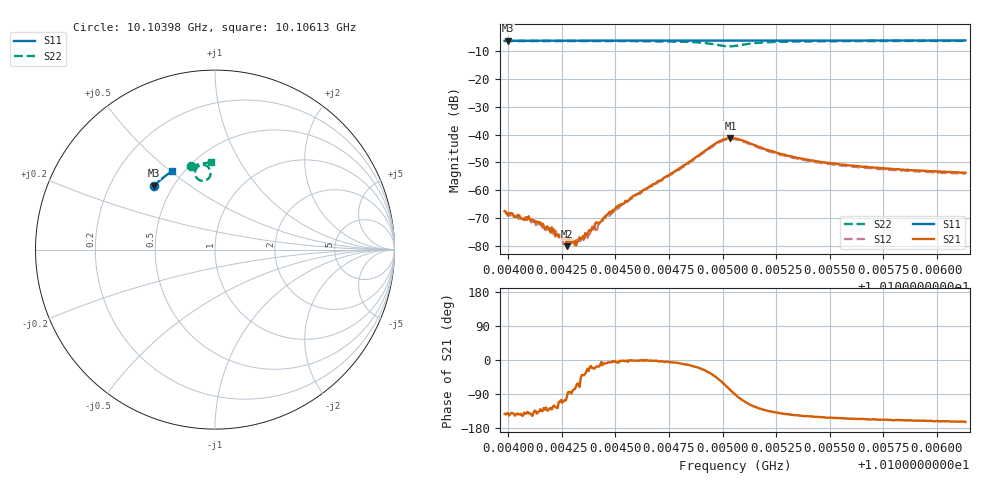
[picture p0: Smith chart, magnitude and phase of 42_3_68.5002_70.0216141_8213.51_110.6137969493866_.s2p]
#  HZ  S  RI  R  50.00
! Rohde & Schwarz Vector Network Analyzer
! Rohde-Schwarz,ZNB20-2Port,1311601062101988,3.16
! Created: UTC 3/20/2024, 4:50:23 PM
! freq[Hz]  re:S11  im:S11  re:S21  im:S21  re:S12  im:S12  re:S22  im:S22
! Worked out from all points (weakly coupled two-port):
!   401 points, 10.10398 GHz to 10.10613 GHz, reference 50 ohm
!   highest |S21| = -41.25 dB at 10.10504 GHz (marker M1); lowest = -80.2 dB at 10.10427 GHz (marker M2)
!   lowest |S11| = -6.2 dB at 10.104 GHz (marker M3), VSWR 2.93, Z = 19.8 + j18.6 ohm
!   |S11| at or under -10 dB: nowhere
!   |S22| runs from -8.2 to -6.2 dB; largest |S21 - S12| = 0.00087
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1.0103982e10  -0.3392 0.3555  -0.000328 -0.000256  -0.000288 -0.000256  -0.1359 0.4642
1.0103999e10  -0.3385 0.3561  -0.000262 -0.000221  -0.00027 -0.000257  -0.1348 0.4646
1.0104068e10  -0.3355 0.3592  -0.000254 -0.000166  -0.000235 -0.000177  -0.1299 0.4661
1.010409e10  -0.3347 0.3601  -0.000217 -0.000205  -0.000223 -0.000213  -0.1283 0.4665
1.0104149e10  -0.332 0.3628  -0.000166 -0.000198  -0.000137 -0.000188  -0.124 0.4677
1.0104219e10  -0.329 0.3657  -8.15e-05 -0.000122  -5.51e-05 -0.000155  -0.1188 0.4692
1.0104267e10  -0.3269 0.3679  -4.07e-05 -0.000135  -8.49e-06 -0.000136  -0.1151 0.4701
1.0104273e10  -0.3267 0.3681  -1.41e-05 -9.63e-05  9.3e-06 -0.000118  -0.1147 0.4703
1.0104316e10  -0.3247 0.3698  3.37e-05 -9.35e-05  5.72e-05 -0.000106  -0.1113 0.471
1.0104343e10  -0.3235 0.371  0.000101 -8.33e-05  0.000101 -6.85e-05  -0.1089 0.4714
1.0104391e10  -0.3214 0.373  0.000197 -7.61e-05  0.000212 -5.51e-05  -0.1049 0.4723
1.0104418e10  -0.3201 0.3742  0.000244 -7.66e-05  0.000226 -3.56e-05  -0.1025 0.4729
1.0104445e10  -0.3189 0.3752  0.000308 -4.56e-05  0.0003 -1.31e-05  -0.1002 0.4732
1.0104499e10  -0.3166 0.3774  0.000463 -2.54e-05  0.000469 4.53e-06  -0.0951 0.474
1.0104703e10  -0.3072 0.3857  0.00146 -9.81e-05  0.00142 6.15e-05  -0.0712 0.4744
1.0104972e10  -0.2943 0.3958  0.00489 -0.00514  0.00514 -0.00444  -0.0263 0.4135
1.0105037e10  -0.2915 0.3979  0.00159 -0.00851  0.00226 -0.00801  -0.067 0.3828
1.0105058e10  -0.2905 0.3989  -0.00011 -0.00851  0.000614 -0.00819  -0.085 0.3864
1.0105268e10  -0.2809 0.4069  -0.00347 -0.00288  -0.00308 -0.00303  -0.0979 0.46
1.0105419e10  -0.2735 0.4124  -0.00294 -0.00174  -0.00265 -0.0019  -0.0797 0.473
1.0105779e10  -0.2555 0.4249  -0.00224 -0.000902  -0.00205 -0.00104  -0.0471 0.4833
1.0106134e10  -0.2372 0.4363  -0.00197 -0.000586  -0.00183 -0.00074  -0.0209 0.4873
